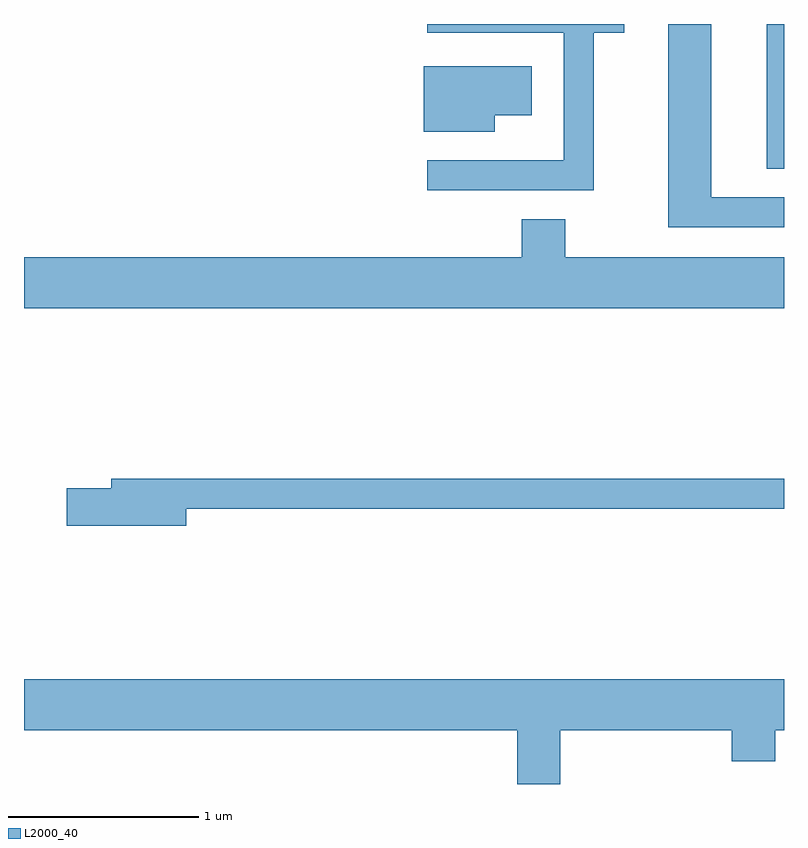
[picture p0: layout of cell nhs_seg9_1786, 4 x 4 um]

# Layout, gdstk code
import gdstk
lib = gdstk.Library(unit=1e-6, precision=1e-09)
def R(c, l, rs):  # rectangles x0, y0, x1, y1
    for r in rs: c.add(gdstk.rectangle(r[:2], r[2:], *l))
def P(c, l, *ps):  # polygons
    for p in ps: c.add(gdstk.Polygon(p, *l))
L2000_40 = (2000, 40)

nhs_seg9_1786 = lib.new_cell('nhs_seg9_1786')
R(nhs_seg9_1786, L2000_40, [(241.521,1983.671,241.611,1984.432)])
P(nhs_seg9_1786, L2000_40, [(241.611,1983.519),(241.229,1983.519),(241.229,1984.432),(241.001,1984.432),(241.001,1983.361),(241.611,1983.361)],
  [(240.609,1984.386),(240.769,1984.386),(240.769,1984.432),(239.733,1984.432),(239.733,1984.386),(240.451,1984.386),(240.451,1983.714),(239.733,1983.714),(239.733,1983.556),(240.609,1983.556)],
  [(240.089,1983.951),(240.284,1983.951),(240.284,1984.209),(239.716,1984.209),(239.716,1983.866),(240.089,1983.866)],
  [(241.611,1983.204),(240.459,1983.204),(240.459,1983.404),(240.231,1983.404),(240.231,1983.204),(237.611,1983.204),(237.611,1982.936),(241.611,1982.936)],
  [(238.464,1981.881),(241.611,1981.881),(241.611,1982.039),(238.071,1982.039),(238.071,1981.989),(237.836,1981.989),(237.836,1981.791),(238.464,1981.791)],
  [(240.434,1980.716),(241.336,1980.716),(241.336,1980.551),(241.564,1980.551),(241.564,1980.716),(241.611,1980.716),(241.611,1980.984),(237.611,1980.984),(237.611,1980.716),(240.206,1980.716),(240.206,1980.432),(240.434,1980.432)])

lib.write_gds('nhs_seg9_1786.gds')
